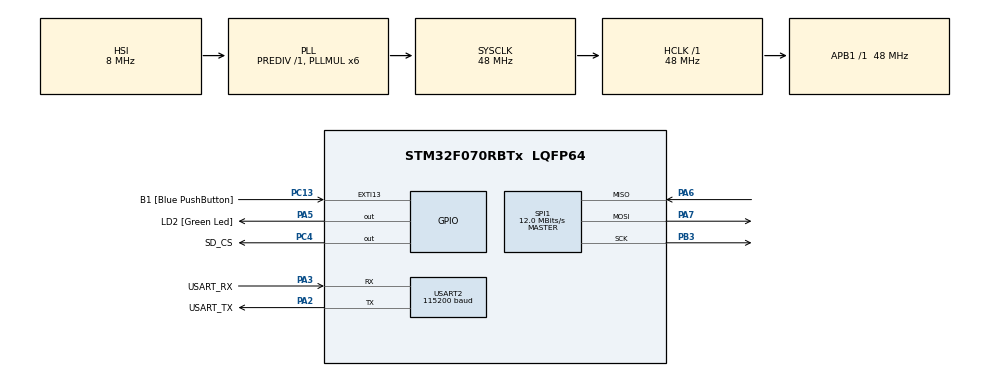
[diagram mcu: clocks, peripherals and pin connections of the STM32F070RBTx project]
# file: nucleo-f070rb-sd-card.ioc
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FATFS._MAX_SS=4096
FATFS._USE_LFN=1
Mcu.Family=STM32F0
Mcu.Name=STM32F070RBTx
Mcu.Package=LQFP64
PA13.GPIO_Label=TMS
PA13.Mode=Serial_Wire
PA13.Signal=SYS_SWDIO
PA14.GPIO_Label=TCK
PA14.Mode=Serial_Wire
PA14.Signal=SYS_SWCLK
PA2.GPIO_Label=USART_TX
PA2.Mode=Asynchronous
PA2.Signal=USART2_TX
PA3.GPIO_Label=USART_RX
PA3.Mode=Asynchronous
PA3.Signal=USART2_RX
PA5.GPIO_Label=LD2 [Green Led]
PA5.Signal=GPIO_Output
PA6.Mode=Full_Duplex_Master
PA6.Signal=SPI1_MISO
PA7.Mode=Full_Duplex_Master
PA7.Signal=SPI1_MOSI
PB3.Mode=Full_Duplex_Master
PB3.Signal=SPI1_SCK
PC13.GPIO_Label=B1 [Blue PushButton]
PC13.GPIO_ModeDefaultEXTI=GPIO_MODE_IT_FALLING
PC13.Signal=GPXTI13
PC14-OSC32_IN.GPIO_Label=RCC_OSC32_IN
PC14-OSC32_IN.Mode=LSE-External-Oscillator
PC14-OSC32_IN.Signal=RCC_OSC32_IN
PC15-OSC32_OUT.GPIO_Label=RCC_OSC32_OUT
PC15-OSC32_OUT.Mode=LSE-External-Oscillator
PC15-OSC32_OUT.Signal=RCC_OSC32_OUT
PC4.GPIO_Label=SD_CS
PC4.Signal=GPIO_Output
PF0-OSC_IN.GPIO_Label=RCC_OSC_IN
PF0-OSC_IN.Mode=HSE-External-Clock-Source
PF0-OSC_IN.Signal=RCC_OSC_IN
PF1-OSC_OUT.GPIO_Label=RCC_OSC_OUT
PF1-OSC_OUT.Signal=RCC_OSC_OUT
ProjectManager.HeapSize=0x200
ProjectManager.StackSize=0x400
ProjectManager.TargetToolchain=STM32CubeIDE
RCC.AHBFreq_Value=48000000
RCC.APB1Freq_Value=48000000
RCC.APB1TimFreq_Value=48000000
RCC.HCLKFreq_Value=48000000
RCC.PLLMUL=RCC_PLL_MUL6
RCC.SYSCLKFreq_VALUE=48000000
RCC.SYSCLKSource=RCC_SYSCLKSOURCE_PLLCLK
SPI1.BaudRatePrescaler=SPI_BAUDRATEPRESCALER_4
SPI1.CalculateBaudRate=12.0 MBits/s
SPI1.DataSize=SPI_DATASIZE_8BIT
SPI1.Direction=SPI_DIRECTION_2LINES
SPI1.Mode=SPI_MODE_MASTER
SPI1.VirtualType=VM_MASTER
USART2.BaudRate=115200
USART2.VirtualMode-Asynchronous=VM_ASYNC
VP_FATFS_VS_Generic.Mode=User_defined
board=NUCLEO-F070RB

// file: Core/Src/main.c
/* USER CODE BEGIN Header */
/**
  ******************************************************************************
  * @file           : main.c
  * @brief          : Main program body
  ******************************************************************************
  * @attention
  *
  * Copyright (c) 2022 STMicroelectronics.
  * All rights reserved.
  *
  * This software is licensed under terms that can be found in the LICENSE file
  * in the root directory of this software component.
  * If no LICENSE file comes with this software, it is provided AS-IS.
  *
  ******************************************************************************
  */
/* USER CODE END Header */
#include "main.h"
#include "fatfs.h"

/* USER CODE BEGIN Includes */
#include "fatfs_sd.h"
#include "string.h"
/* USER CODE END Includes */

 SPI_HandleTypeDef hspi1;

UART_HandleTypeDef huart2;

void SystemClock_Config(void);
static void MX_GPIO_Init(void);
static void MX_USART2_UART_Init(void);
static void MX_SPI1_Init(void);

/* USER CODE BEGIN 0 */
FATFS fs;  // file system
FIL fil; // File
FILINFO fno;
FRESULT fresult;  // result
UINT br, bw;  // File read/write count

/**** capacity related *****/
FATFS *pfs;
DWORD fre_clust;
uint32_t total, free_space;

#define BUFFER_SIZE 128
char buffer[BUFFER_SIZE];  // to store strings..

int i=0;

int bufsize (char *buf)
{
	int i=0;
	while (*buf++ != '\0') i++;
	return i;
}

void clear_buffer (void)
{
	for (int i=0; i<BUFFER_SIZE; i++) buffer[i] = '\0';
}

void send_uart (char *string)
{
	uint8_t len = strlen (string);
	HAL_UART_Transmit(&huart2, (uint8_t *) string, len, HAL_MAX_DELAY);  // transmit in blocking mode
}
/* USER CODE END 0 */

int main(void)
{

  /* MCU Configuration--------------------------------------------------------*/

  /* Reset of all peripherals, Initializes the Flash interface and the Systick. */
  HAL_Init();

  /* Configure the system clock */
  SystemClock_Config();

  /* Initialize all configured peripherals */
  MX_GPIO_Init();
  MX_USART2_UART_Init();
  MX_SPI1_Init();
  MX_FATFS_Init();
  /* USER CODE BEGIN 2 */
  HAL_Delay (500);
  fresult = f_mount(&fs, "/", 1);
  if (fresult != FR_OK) send_uart ("ERROR!!! in mounting SD CARD...\n");
  else send_uart("SD CARD mounted successfully...\n");

  HAL_Delay(250);

  fresult = f_open(&fil, "file5.txt", FA_OPEN_ALWAYS | FA_READ | FA_WRITE);

  HAL_Delay(10);

  f_close(&fil);

//	/**************** The following operation is using f_write and f_read **************************/
//
//	/* Create second file with read write access and open it */
//	fresult = f_open(&fil, "file4.txt", FA_CREATE_ALWAYS | FA_WRITE);
//
//	/* Writing text */
//	strcpy (buffer, "This is File4.txt, written using ...f_write... and it says Hello from kerem\n");
//
//	fresult = f_write(&fil, buffer, bufsize(buffer), &bw);
//
//	send_uart ("File4.txt created and data is written\n");
//
//	/* Close file */
//	f_close(&fil);
//
//
//
//	// clearing buffer to show that result obtained is from the file
//	clear_buffer();
//
//	/* Open second file to read */
//	fresult = f_open(&fil, "file4.txt", FA_READ);
//	if (fresult == FR_OK)send_uart ("file4.txt is open and the data is shown below\n");
//
//	/* Read data from the file
//	* Please see the function details for the arguments */
//	f_read (&fil, buffer, f_size(&fil), &br);
//	send_uart(buffer);
//	send_uart("\n\n");
//
//	/* Close file */
//	f_close(&fil);
//
//	clear_buffer();

//  	/************* The following operation is using PUTS and GETS *********************/
//
//  	/* Open file to write/ create a file if it doesn't exist */
//  	fresult = f_open(&fil, "file3.txt", FA_OPEN_ALWAYS | FA_READ | FA_WRITE);
//
//  	/* Writing text */
//  	f_puts("This data is from the FILE3.txt. And it was written using ...f_puts... hello ", &fil);
//
//  	/* Close file */
//  	fresult = f_close(&fil);
//
//
//
//  	/* Open file to read */
//  	fresult = f_open(&fil, "file3.txt", FA_READ);
//
//  	/* Read string from the file */
//  	f_gets(buffer, f_size(&fil), &fil);
//
//  	send_uart("File3.txt is opened and it contains the data as shown below\n");
//  	send_uart(buffer);
//
//  	/* Close file */
//  	f_close(&fil);
//
//  	clear_buffer();

//    fresult = f_mount(&fs, "/", 1);
//	if (fresult != FR_OK) send_uart ("ERROR!!! in mounting SD CARD...\n\n");
//	else send_uart("SD CARD mounted successfully...\n\n");

//	/*************** Card capacity details ********************/
//
//	/* Check free space */
//	f_getfree("", &fre_clust, &pfs);
//
//	total = (uint32_t)((pfs->n_fatent - 2) * pfs->csize * 0.5);
//	sprintf (buffer, "SD CARD Total Size: \t%lu\n",total);
//	send_uart(buffer);
//	clear_buffer();
//	free_space = (uint32_t)(fre_clust * pfs->csize * 0.5);
//	sprintf (buffer, "SD CARD Free Space: \t%lu\n\n",free_space);
//	send_uart(buffer);
//	clear_buffer();

//	HAL_Delay(250);
//
//	/************* The following operation is using PUTS and GETS *********************/
//
//	/* Open file to write/ create a file if it doesn't exist */
//	fresult = f_open(&fil, "file1.txt", FA_OPEN_ALWAYS | FA_READ | FA_WRITE);
//
//	/* Writing text */
//	f_puts("This data is from the FILE1.txt. And it was written using ...f_puts... ", &fil);
//
//	/* Close file */
//	fresult = f_close(&fil);
//
//	if (fresult == FR_OK)send_uart ("File1.txt created and the data is written \n");
//
//	/* Open file to read */
//	fresult = f_open(&fil, "file1.txt", FA_READ);
//
//	/* Read string from the file */
//	f_gets(buffer, f_size(&fil), &fil);
//
//	send_uart("File1.txt is opened and it contains the data as shown below\n");
//	send_uart(buffer);
//	send_uart("\n\n");
//
//	/* Close file */
//	f_close(&fil);
//
//	clear_buffer();

//	/**************** The following operation is using f_write and f_read **************************/
//
//	/* Create second file with read write access and open it */
//	fresult = f_open(&fil, "file2.txt", FA_CREATE_ALWAYS | FA_WRITE);
//
//	/* Writing text */
//	strcpy (buffer, "This is File2.txt, written using ...f_write... and it says Hello from Controllerstech\n");
//
//	fresult = f_write(&fil, buffer, bufsize(buffer), &bw);
//
//	send_uart ("File2.txt created and data is written\n");
//
//	/* Close file */
//	f_close(&fil);
//
//
//
//	// clearing buffer to show that result obtained is from the file
//	clear_buffer();
//
//	/* Open second file to read */
//	fresult = f_open(&fil, "file2.txt", FA_READ);
//	if (fresult == FR_OK)send_uart ("file2.txt is open and the data is shown below\n");
//
//	/* Read data from the file
//	 * Please see the function details for the arguments */
//	f_read (&fil, buffer, f_size(&fil), &br);
//	send_uart(buffer);
//	send_uart("\n\n");
//
//	/* Close file */
//	f_close(&fil);
//
//	clear_buffer();
//
//
//	/*********************UPDATING an existing file ***************************/
//
//	/* Open the file with write access */
//	fresult = f_open(&fil, "file2.txt", FA_OPEN_EXISTING | FA_READ | FA_WRITE);
//
//	/* Move to offset to the end of the file */
//	fresult = f_lseek(&fil, f_size(&fil));
//
//	if (fresult == FR_OK)send_uart ("About to update the file2.txt\n");
//
//	/* write the string to the file */
//	fresult = f_puts("This is updated data and it should be in the end", &fil);
//
//	f_close (&fil);
//
//	clear_buffer();
//
//	/* Open to read the file */
//	fresult = f_open (&fil, "file2.txt", FA_READ);
//
//	/* Read string from the file */
//	fresult = f_read (&fil, buffer, f_size(&fil), &br);
//	if (fresult == FR_OK)send_uart ("Below is the data from updated file2.txt\n");
//	send_uart(buffer);
//	send_uart("\n\n");
//
//	/* Close file */
//	f_close(&fil);
//
//	clear_buffer();

//	/*************************REMOVING FILES FROM THE DIRECTORY ****************************/
//
//	fresult = f_unlink("/file1.txt");
//	if (fresult == FR_OK) send_uart("file1.txt removed successfully...\n");
//
//	fresult = f_unlink("/file2.txt");
//	if (fresult == FR_OK) send_uart("file2.txt removed successfully...\n");
//
//	/* Unmount SDCARD */
//	fresult = f_mount(NULL, "/", 1);
//	if (fresult == FR_OK) send_uart ("SD CARD UNMOUNTED successfully...\n");

  /* USER CODE END 2 */

  /* Infinite loop */
  /* USER CODE BEGIN WHILE */
  while (1)
  {
//	/**************** The following operation is using f_write and f_read **************************/
//
//	/* Create second file with read write access and open it */
//	fresult = f_open(&fil, "file5.txt", FA_CREATE_ALWAYS | FA_WRITE);

	fresult = f_open(&fil, "file5.txt", FA_WRITE);

	/* Writing text */
	strcpy (buffer, "kerem0101\n");

	fresult = f_write(&fil, buffer, bufsize(buffer), &bw);

	/* Close file */
	f_close(&fil);

	HAL_Delay(50);

	// clearing buffer to show that result obtained is from the file
	clear_buffer();

	/* Open second file to read */
	fresult = f_open(&fil, "file5.txt", FA_READ);
	if (fresult == FR_OK)send_uart ("file5.txt is open and the data is shown below\n");

	/* Read data from the file
	* Please see the function details for the arguments */
	f_read (&fil, buffer, f_size(&fil), &br);
	send_uart(buffer);

	/* Close file */
	f_close(&fil);

	clear_buffer();

	HAL_Delay(1000);
    /* USER CODE END WHILE */

  }
}

void SystemClock_Config(void)
{
  RCC_OscInitTypeDef RCC_OscInitStruct = {0};
  RCC_ClkInitTypeDef RCC_ClkInitStruct = {0};

  /** Initializes the RCC Oscillators according to the specified parameters
  * in the RCC_OscInitTypeDef structure.
  */
  RCC_OscInitStruct.OscillatorType = RCC_OSCILLATORTYPE_HSI;
  RCC_OscInitStruct.HSIState = RCC_HSI_ON;
  RCC_OscInitStruct.HSICalibrationValue = RCC_HSICALIBRATION_DEFAULT;
  RCC_OscInitStruct.PLL.PLLState = RCC_PLL_ON;
  RCC_OscInitStruct.PLL.PLLSource = RCC_PLLSOURCE_HSI;
  RCC_OscInitStruct.PLL.PLLMUL = RCC_PLL_MUL6;
  RCC_OscInitStruct.PLL.PREDIV = RCC_PREDIV_DIV1;
  if (HAL_RCC_OscConfig(&RCC_OscInitStruct) != HAL_OK)
  {
    Error_Handler();
  }

  /** Initializes the CPU, AHB and APB buses clocks
  */
  RCC_ClkInitStruct.ClockType = RCC_CLOCKTYPE_HCLK|RCC_CLOCKTYPE_SYSCLK
                              |RCC_CLOCKTYPE_PCLK1;
  RCC_ClkInitStruct.SYSCLKSource = RCC_SYSCLKSOURCE_PLLCLK;
  RCC_ClkInitStruct.AHBCLKDivider = RCC_SYSCLK_DIV1;
  RCC_ClkInitStruct.APB1CLKDivider = RCC_HCLK_DIV1;

  if (HAL_RCC_ClockConfig(&RCC_ClkInitStruct, FLASH_LATENCY_1) != HAL_OK)
  {
    Error_Handler();
  }
}

static void MX_SPI1_Init(void)
{

  /* SPI1 parameter configuration*/
  hspi1.Instance = SPI1;
  hspi1.Init.Mode = SPI_MODE_MASTER;
  hspi1.Init.Direction = SPI_DIRECTION_2LINES;
  hspi1.Init.DataSize = SPI_DATASIZE_8BIT;
  hspi1.Init.CLKPolarity = SPI_POLARITY_LOW;
  hspi1.Init.CLKPhase = SPI_PHASE_1EDGE;
  hspi1.Init.NSS = SPI_NSS_SOFT;
  hspi1.Init.BaudRatePrescaler = SPI_BAUDRATEPRESCALER_4;
  hspi1.Init.FirstBit = SPI_FIRSTBIT_MSB;
  hspi1.Init.TIMode = SPI_TIMODE_DISABLE;
  hspi1.Init.CRCCalculation = SPI_CRCCALCULATION_DISABLE;
  hspi1.Init.CRCPolynomial = 7;
  hspi1.Init.CRCLength = SPI_CRC_LENGTH_DATASIZE;
  hspi1.Init.NSSPMode = SPI_NSS_PULSE_ENABLE;
  if (HAL_SPI_Init(&hspi1) != HAL_OK)
  {
    Error_Handler();
  }

}

static void MX_USART2_UART_Init(void)
{

  huart2.Instance = USART2;
  huart2.Init.BaudRate = 115200;
  huart2.Init.WordLength = UART_WORDLENGTH_8B;
  huart2.Init.StopBits = UART_STOPBITS_1;
  huart2.Init.Parity = UART_PARITY_NONE;
  huart2.Init.Mode = UART_MODE_TX_RX;
  huart2.Init.HwFlowCtl = UART_HWCONTROL_NONE;
  huart2.Init.OverSampling = UART_OVERSAMPLING_16;
  huart2.Init.OneBitSampling = UART_ONE_BIT_SAMPLE_DISABLE;
  huart2.AdvancedInit.AdvFeatureInit = UART_ADVFEATURE_NO_INIT;
  if (HAL_UART_Init(&huart2) != HAL_OK)
  {
    Error_Handler();
  }

}

static void MX_GPIO_Init(void)
{
  GPIO_InitTypeDef GPIO_InitStruct = {0};

  /* GPIO Ports Clock Enable */
  __HAL_RCC_GPIOC_CLK_ENABLE();
  __HAL_RCC_GPIOF_CLK_ENABLE();
  __HAL_RCC_GPIOA_CLK_ENABLE();
  __HAL_RCC_GPIOB_CLK_ENABLE();

  /*Configure GPIO pin Output Level */
  HAL_GPIO_WritePin(GPIOA, GPIO_PIN_5, GPIO_PIN_RESET);

  /*Configure GPIO pin Output Level */
  HAL_GPIO_WritePin(GPIOC, GPIO_PIN_4, GPIO_PIN_RESET);

  /*Configure GPIO pin : PC13 */
  GPIO_InitStruct.Pin = GPIO_PIN_13;
  GPIO_InitStruct.Mode = GPIO_MODE_IT_FALLING;
  GPIO_InitStruct.Pull = GPIO_NOPULL;
  HAL_GPIO_Init(GPIOC, &GPIO_InitStruct);

  /*Configure GPIO pin : PA5 */
  GPIO_InitStruct.Pin = GPIO_PIN_5;
  GPIO_InitStruct.Mode = GPIO_MODE_OUTPUT_PP;
  GPIO_InitStruct.Pull = GPIO_NOPULL;
  GPIO_InitStruct.Speed = GPIO_SPEED_FREQ_LOW;
  HAL_GPIO_Init(GPIOA, &GPIO_InitStruct);

  /*Configure GPIO pin : PC4 */
  GPIO_InitStruct.Pin = GPIO_PIN_4;
  GPIO_InitStruct.Mode = GPIO_MODE_OUTPUT_PP;
  GPIO_InitStruct.Pull = GPIO_NOPULL;
  GPIO_InitStruct.Speed = GPIO_SPEED_FREQ_LOW;
  HAL_GPIO_Init(GPIOC, &GPIO_InitStruct);

}

void Error_Handler(void)
{
  __disable_irq();
  while (1)
  {
  }
}
